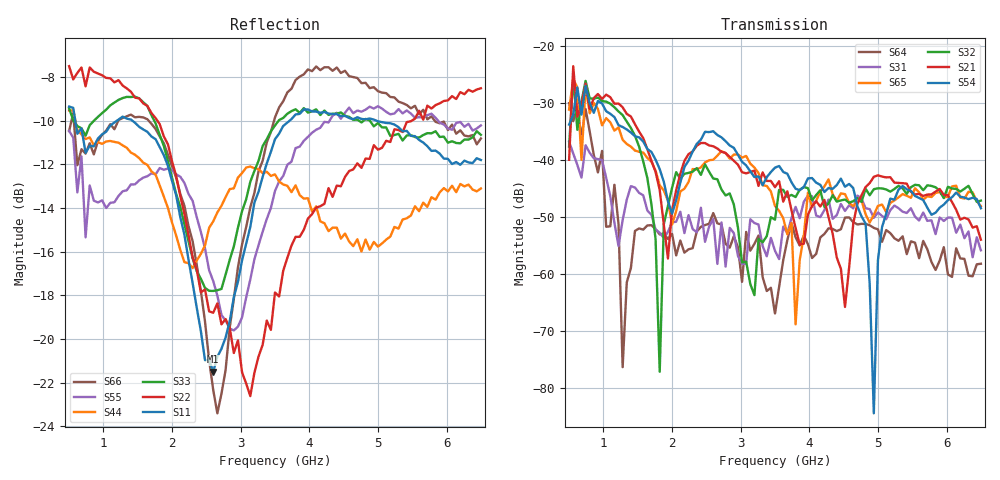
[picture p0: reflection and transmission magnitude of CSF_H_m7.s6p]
!Keysight Technologies,M9804A,MY58100912,A.14.10.03
!Date: Thursday, April 27, 2023 10:28:33
!Correction: S11(C  6-Port  )
!S12(C  6-Port  )
!S13(C  6-Port  )
!S14(C  6-Port  )
!S15(C  6-Port  )
!S16(C  6-Port  )
!S21(C  6-Port  )
!S22(C  6-Port  )
!S23(C  6-Port  )
!S24(C  6-Port  )
!S25(C  6-Port  )
!S26(C  6-Port  )
!S31(C  6-Port  )
!S32(C  6-Port  )
!S33(C  6-Port  )
!S34(C  6-Port  )
!S35(C  6-Port  )
!S36(C  6-Port  )
!S41(C  6-Port  )
!S42(C  6-Port  )
!S43(C  6-Port  )
!S44(C  6-Port  )
!S45(C  6-Port  )
!S46(C  6-Port  )
!S51(C  6-Port  )
!S52(C  6-Port  )
!S53(C  6-Port  )
!S54(C  6-Port  )
!S55(C  6-Port  )
!S56(C  6-Port  )
!S61(C  6-Port  )
!S62(C  6-Port  )
!S63(C  6-Port  )
!S64(C  6-Port  )
!S65(C  6-Port  )
!S66(C  6-Port  )
!S6P File: Measurement: :
# Hz S  RI  R 50
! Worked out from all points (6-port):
!   101 points, 500 MHz to 6.5 GHz, reference 50 ohm
!   strongest paths, dB at 500 MHz, 2 GHz, 3.5 GHz, 5 GHz, 6.5 GHz:
!     S54: -33.7, -49.4, -41.3, -57.6, -48.4
!     S21: -39.9, -48.8, -44.7, -42.7, -54.0
!     S32: -37.6, -44.9, -50.5, -44.9, -47.1
!     S65: -31.1, -51.3, -48.0, -48.0, -48.1
!     S31: -36.7, -51.0, -55.9, -49.2, -55.8
!     S64: -30.0, -53.0, -66.9, -52.1, -58.2
!   lowest |S11| = -21.5 dB at 2.6 GHz (marker M1), VSWR 1.18, Z = 42.5 + j2.17 ohm
!   |S11| at or under -10 dB: 589.5 MHz to 1.197 GHz (607.6 MHz wide, 68 % of centre); 1.421 GHz to 3.713 GHz (2.293 GHz wide, 89.3 % of centre); 4.977 GHz to end of sweep
